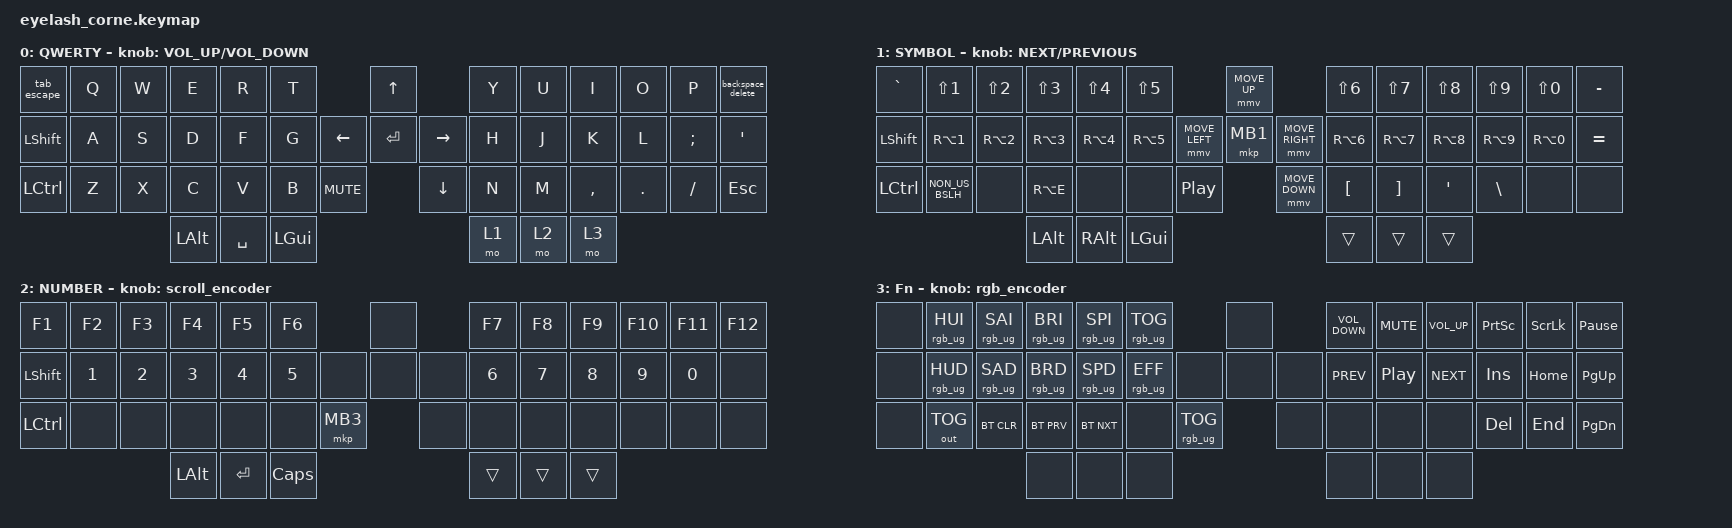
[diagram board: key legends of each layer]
#define ZMK_POINTING_DEFAULT_MOVE_VAL 1200  // 600
#define ZMK_POINTING_DEFAULT_SCRL_VAL 25   // 10

#include <input/processors.dtsi>
#include <zephyr/dt-bindings/input/input-event-codes.h>
#include <behaviors.dtsi>
#include <dt-bindings/zmk/bt.h>
#include <dt-bindings/zmk/keys.h>
#include <dt-bindings/zmk/outputs.h>
#include <dt-bindings/zmk/pointing.h>
#include <dt-bindings/zmk/rgb.h>

&mmv_input_listener { input-processors = <&zip_xy_scaler 2 1>; };

&msc_input_listener { input-processors = <&zip_scroll_scaler 2 1>; };

&msc {
    acceleration-exponent = <1>;      // 0
    time-to-max-speed-ms = <100>;       // 300
    delay-ms = <0>;                   // 0
};

&mmv {
    time-to-max-speed-ms = <500>;
    acceleration-exponent = <1>;
    trigger-period-ms = <16>;
};

&soft_off { hold-time-ms = <2000>; };

/ {
    behaviors {
        td0: td0 {
            compatible = "zmk,behavior-tap-dance";
            display-name = "Shift/Caps Lock Tap Dance";
            #binding-cells = <0>;
            bindings = <&kp LEFT_SHIFT>, <&kp CAPS>;
        };

        backspace_delete: backspace_delete {
            compatible = "zmk,behavior-mod-morph";
            label = "BACKSPACE_DELETE";
            bindings = <&kp BACKSPACE>, <&kp DELETE>;

            #binding-cells = <0>;
            mods = <(MOD_LSFT)>;
        };

        tab_escape: tab_escape {
            compatible = "zmk,behavior-mod-morph";
            label = "TAB_ESCAPE";
            bindings = <&kp TAB>, <&kp ESCAPE>;

            #binding-cells = <0>;
            mods = <(MOD_LSFT)>;
        };
    };

    rgb_encoder: rgb_encoder {
        compatible = "zmk,behavior-sensor-rotate";
        #sensor-binding-cells = <0>;
        bindings = <&rgb_ug RGB_BRI>, <&rgb_ug RGB_BRD>;
    };

    scroll_encoder: scroll_encoder {
        compatible = "zmk,behavior-sensor-rotate";
        #sensor-binding-cells = <0>;
        bindings = <&msc SCRL_DOWN>, <&msc SCRL_UP>;

        tap-ms = <100>;
    };

    combos {
        compatible = "zmk,combos";

        softoff {
            bindings = <&soft_off>;
            key-positions = <1 15 29>;
        };
    };

    keymap {
        compatible = "zmk,keymap";

        default_layer {
            display-name = "QWERTY";
            bindings = <
&tab_escape     &kp Q  &kp W  &kp E         &kp R      &kp T                                 &kp UP                &kp Y  &kp U  &kp I      &kp O    &kp P     &backspace_delete
&kp LEFT_SHIFT  &kp A  &kp S  &kp D         &kp F      &kp G                       &kp LEFT  &kp ENTER  &kp RIGHT  &kp H  &kp J  &kp K      &kp L    &kp SEMI  &kp SQT
&kp LCTRL       &kp Z  &kp X  &kp C         &kp V      &kp B         &kp C_MUTE              &kp DOWN              &kp N  &kp M  &kp COMMA  &kp DOT  &kp FSLH  &kp ESC
                              &kp LEFT_ALT  &kp SPACE  &kp LEFT_GUI                                                &mo 1  &mo 2  &mo 3
            >;

            sensor-bindings = <&inc_dec_kp C_VOLUME_UP C_VOLUME_DOWN>;
        };

        lower_layer {
            display-name = "SYMBOL";
            bindings = <
&kp GRAVE         &kp LS(N1)       &kp LS(N2)  &kp LS(N3)    &kp LS(N4)     &kp LS(N5)                                        &mmv MOVE_UP                     &kp LS(N6)        &kp LS(N7)         &kp LS(N8)  &kp LS(N9)     &kp LS(N0)  &kp MINUS
&kp LEFT_SHIFT    &kp RA(N1)       &kp RA(N2)  &kp RA(N3)    &kp RA(N4)     &kp RA(N5)                        &mmv MOVE_LEFT  &mkp MB1        &mmv MOVE_RIGHT  &kp RA(N6)        &kp RA(N7)         &kp RA(N8)  &kp RA(N9)     &kp RA(N0)  &kp EQUAL
&kp LEFT_CONTROL  &kp NON_US_BSLH  &none       &kp RA(E)     &none          &none         &kp C_PLAY_PAUSE                    &mmv MOVE_DOWN                   &kp LEFT_BRACKET  &kp RIGHT_BRACKET  &kp SQT     &kp BACKSLASH  &none       &none
                                               &kp LEFT_ALT  &kp RIGHT_ALT  &kp LEFT_GUI                                                                       &trans            &trans             &trans
            >;

            sensor-bindings = <&inc_dec_kp C_NEXT C_PREVIOUS>;
        };

        raise_layer {
            display-name = "NUMBER";
            bindings = <
&kp F1            &kp F2        &kp F3        &kp F4        &kp F5        &kp F6                           &none         &kp F7        &kp F8        &kp F9        &kp F10       &kp F11       &kp F12
&kp LEFT_SHIFT    &kp NUMBER_1  &kp NUMBER_2  &kp NUMBER_3  &kp NUMBER_4  &kp NUMBER_5              &none  &none  &none  &kp NUMBER_6  &kp NUMBER_7  &kp NUMBER_8  &kp NUMBER_9  &kp NUMBER_0  &none
&kp LEFT_CONTROL  &none         &none         &none         &none         &none         &mkp MB3           &none         &none         &none         &none         &none         &none         &none
                                              &kp LEFT_ALT  &kp RETURN    &kp CAPSLOCK                                   &trans        &trans        &trans
            >;

            sensor-bindings = <&scroll_encoder>;
        };

        layer_3 {
            display-name = "Fn";
            bindings = <
&none  &rgb_ug RGB_HUI  &rgb_ug RGB_SAI  &rgb_ug RGB_BRI  &rgb_ug RGB_SPI  &rgb_ug RGB_TOG                            &none         &kp C_VOLUME_DOWN  &kp K_MUTE        &kp C_VOLUME_UP  &kp PRINTSCREEN  &kp SCROLLLOCK  &kp PAUSE_BREAK
&none  &rgb_ug RGB_HUD  &rgb_ug RGB_SAD  &rgb_ug RGB_BRD  &rgb_ug RGB_SPD  &rgb_ug RGB_EFF                     &none  &none  &none  &kp C_PREV         &kp C_PLAY_PAUSE  &kp C_NEXT       &kp INSERT       &kp HOME        &kp PAGE_UP
&none  &out OUT_TOG     &bt BT_CLR       &bt BT_PRV       &bt BT_NXT       &none            &rgb_ug RGB_TOG           &none         &none              &none             &none            &kp DEL          &kp END         &kp PAGE_DOWN
                                         &none            &none            &none                                                    &none              &none             &none
            >;

            sensor-bindings = <&rgb_encoder>;
        };
    };
};
